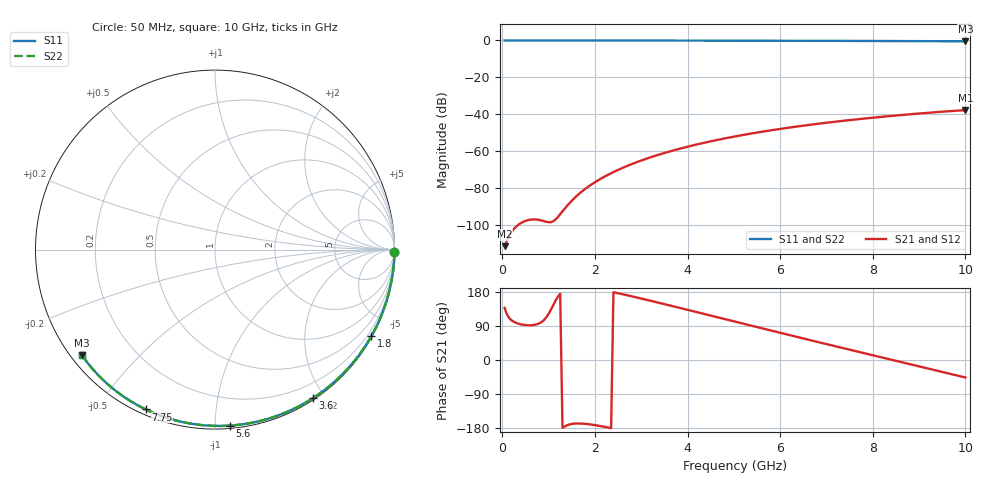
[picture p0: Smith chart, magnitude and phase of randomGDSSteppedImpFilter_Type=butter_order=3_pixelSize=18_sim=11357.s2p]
! freq	dB(S11)	phase(S11)	dB(S12)	phase(S12)
!  dB(S21)	phase(S21)	dB(S22)	phase(S22)
!S-par simulation data
#  GHz  S  DB  R 50
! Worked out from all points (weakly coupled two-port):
!   200 points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, 50 MHz to 10 GHz, reference 50 ohm
!   highest |S21| = -37.72 dB at 10 GHz (marker M1); lowest = -111.4 dB at 50 MHz (marker M2)
!   lowest |S11| = -0.5 dB at 10 GHz (marker M3), VSWR 36.38, Z = 1.54 - j17.4 ohm
!   |S11| at or under -10 dB: nowhere
!   |S22| runs from -0.5 to 0.0 dB; largest |S21 - S12| = 0
!   S11 on the Smith chart (normalised r, x): 50 MHz: open; 1.8 GHz: 0.03, -3.86; 3.6 GHz: 0.02, -1.86; 5.6 GHz: 0.02, -1.09; 7.75 GHz: 0.02, -0.66; 10 GHz: 0.03, -0.35
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0.05  -0.00 -0.8  -111.45 137.8  -111.45 137.8  -0.00 -0.8
0.45  -0.01 -7.4  -98.29 93.0  -98.29 93.0  -0.01 -7.4
0.9  -0.02 -14.7  -97.90 105.6  -97.90 105.6  -0.02 -14.6
1.3  -0.03 -21.1  -92.58 -179.4  -92.58 -179.4  -0.03 -21.1
1.75  -0.04 -28.2  -81.20 -168.0  -81.20 -168.0  -0.04 -28.2
1.8  -0.04 -29.0  -80.24 -168.6  -80.24 -168.6  -0.04 -29.0
2.05  -0.04 -32.9  -76.03 -172.8  -76.03 -172.8  -0.04 -32.9
2.2  -0.04 -35.3  -73.88 -176.1  -73.88 -176.1  -0.04 -35.3
2.55  -0.05 -40.7  -69.55 174.9  -69.55 174.9  -0.05 -40.7
2.95  -0.06 -46.9  -65.50 163.7  -65.50 163.7  -0.06 -46.9
3.4  -0.07 -53.7  -61.72 150.5  -61.72 150.5  -0.07 -53.6
3.6  -0.08 -56.6  -60.24 144.5  -60.24 144.5  -0.08 -56.6
4.3  -0.09 -66.9  -55.76 123.3  -55.76 123.3  -0.09 -66.9
5.05  -0.12 -77.6  -51.88 100.6  -51.88 100.6  -0.12 -77.5
5.6  -0.14 -85.2  -49.48 83.9  -49.48 83.9  -0.14 -85.1
6.15  -0.16 -92.6  -47.37 67.3  -47.37 67.3  -0.16 -92.6
6.7  -0.19 -99.9  -45.51 50.9  -45.51 50.9  -0.19 -99.8
7.2  -0.22 -106.4  -43.99 36.0  -43.99 36.0  -0.22 -106.3
7.75  -0.26 -113.4  -42.48 19.8  -42.48 19.8  -0.26 -113.4
8.35  -0.31 -121.0  -41.00 2.3  -41.00 2.3  -0.31 -120.9
9.2  -0.39 -131.6  -39.17 -22.6  -39.17 -22.6  -0.39 -131.6
10  -0.48 -141.6  -37.72 -46.2  -37.72 -46.2  -0.48 -141.6
